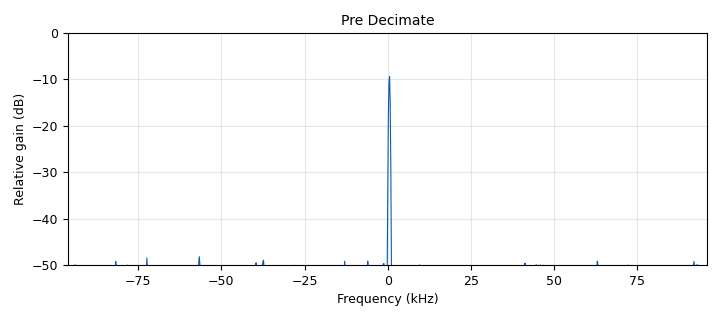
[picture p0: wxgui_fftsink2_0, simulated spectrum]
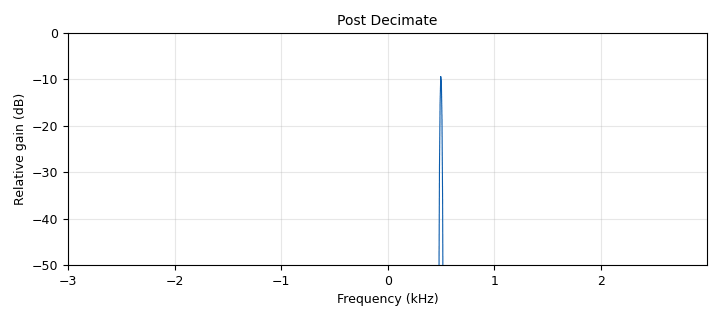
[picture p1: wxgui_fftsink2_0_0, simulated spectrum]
<?xml version='1.0' encoding='utf-8'?>
<?grc format='1' created='3.7.9'?>
<flow_graph>
<block>
<key>options</key>
<param><key>id</key><value>noiseDecimationTest</value></param>
<param><key>author</key><value>Richard Landsman</value></param>
<param><key>category</key><value>Custom</value></param>
<param><key>generate_options</key><value>wx_gui</value></param>
<param><key>title</key><value>Noise and Signal level testing</value></param>
</block>
<block>
<key>variable</key>
<param><key>id</key><value>decimate</value></param>
<param><key>value</key><value>32</value></param>
</block>
<block>
<key>variable_slider</key>
<param><key>id</key><value>freq</value></param>
<param><key>converver</key><value>float_converter</value></param>
<param><key>value</key><value>500</value></param>
<param><key>grid_pos</key><value>1,1,1,1</value></param>
<param><key>label</key><value>Signal Freq</value></param>
<param><key>max</key><value>1000</value></param>
<param><key>min</key><value>0</value></param>
<param><key>num_steps</key><value>200</value></param>
<param><key>style</key><value>wx.SL_HORIZONTAL</value></param>
</block>
<block>
<key>variable_slider</key>
<param><key>id</key><value>noiseAmp</value></param>
<param><key>converver</key><value>float_converter</value></param>
<param><key>value</key><value>0.1</value></param>
<param><key>grid_pos</key><value>1,2,1,1</value></param>
<param><key>label</key><value>Noise Amplitude</value></param>
<param><key>max</key><value>0.5</value></param>
<param><key>min</key><value>0</value></param>
<param><key>num_steps</key><value>200</value></param>
<param><key>style</key><value>wx.SL_HORIZONTAL</value></param>
</block>
<block>
<key>variable_function_probe</key>
<param><key>id</key><value>rmsDbFunc</value></param>
<param><key>block_id</key><value>rmsDbProbe</value></param>
<param><key>function_name</key><value>level</value></param>
<param><key>poll_rate</key><value>10</value></param>
<param><key>value</key><value>0</value></param>
</block>
<block>
<key>variable</key>
<param><key>id</key><value>samp_rate</value></param>
<param><key>value</key><value>192000</value></param>
</block>
<block>
<key>variable_slider</key>
<param><key>id</key><value>sigAmp</value></param>
<param><key>converver</key><value>float_converter</value></param>
<param><key>value</key><value>0.5</value></param>
<param><key>grid_pos</key><value>1,0,1,1</value></param>
<param><key>label</key><value>Signal Amplitude</value></param>
<param><key>max</key><value>1.0</value></param>
<param><key>min</key><value>0</value></param>
<param><key>num_steps</key><value>200</value></param>
<param><key>style</key><value>wx.SL_HORIZONTAL</value></param>
</block>
<block>
<key>variable_static_text</key>
<param><key>id</key><value>variable_static_text_0</value></param>
<param><key>converver</key><value>str_converter</value></param>
<param><key>value</key><value>rmsDbFunc</value></param>
<param><key>formatter</key><value>None</value></param>
<param><key>grid_pos</key><value>1,3,1,1</value></param>
<param><key>label</key><value>RMS Db</value></param>
</block>
<block>
<key>analog_noise_source_x</key>
<param><key>id</key><value>analog_noise_source_x_0</value></param>
<param><key>amp</key><value>noiseAmp</value></param>
<param><key>noise_type</key><value>analog.GR_GAUSSIAN</value></param>
<param><key>type</key><value>complex</value></param>
<param><key>seed</key><value>0</value></param>
</block>
<block>
<key>analog_sig_source_x</key>
<param><key>id</key><value>analog_sig_source_x_0</value></param>
<param><key>amp</key><value>sigAmp</value></param>
<param><key>freq</key><value>freq</value></param>
<param><key>offset</key><value>0</value></param>
<param><key>type</key><value>complex</value></param>
<param><key>samp_rate</key><value>samp_rate</value></param>
<param><key>waveform</key><value>analog.GR_COS_WAVE</value></param>
</block>
<block>
<key>blocks_add_xx</key>
<param><key>id</key><value>blocks_add_xx_0</value></param>
<param><key>type</key><value>complex</value></param>
</block>
<block>
<key>blocks_rms_xx</key>
<param><key>id</key><value>blocks_rms_xx_0</value></param>
<param><key>alpha</key><value>0.0001</value></param>
<param><key>type</key><value>complex</value></param>
</block>
<block>
<key>blocks_throttle</key>
<param><key>id</key><value>blocks_throttle_0</value></param>
<param><key>samples_per_second</key><value>samp_rate</value></param>
<param><key>type</key><value>complex</value></param>
</block>
<block>
<key>pfb_decimator_ccf</key>
<param><key>id</key><value>pfb_decimator_ccf_0</value></param>
<param><key>decim</key><value>decimate</value></param>
<param><key>channel</key><value>0</value></param>
<param><key>atten</key><value>100</value></param>
</block>
<block>
<key>blocks_nlog10_ff</key>
<param><key>id</key><value>rmsDbCalc</value></param>
<param><key>k</key><value>0</value></param>
<param><key>n</key><value>20</value></param>
</block>
<block>
<key>blocks_probe_signal_x</key>
<param><key>id</key><value>rmsDbProbe</value></param>
<param><key>type</key><value>float</value></param>
</block>
<block>
<key>wxgui_fftsink2</key>
<param><key>id</key><value>wxgui_fftsink2_0</value></param>
<param><key>avg_alpha</key><value>0</value></param>
<param><key>average</key><value>True</value></param>
<param><key>baseband_freq</key><value>0</value></param>
<param><key>fft_size</key><value>1024</value></param>
<param><key>freqvar</key><value>None</value></param>
<param><key>grid_pos</key><value>0,0,1,2</value></param>
<param><key>peak_hold</key><value>False</value></param>
<param><key>ref_level</key><value>0</value></param>
<param><key>ref_scale</key><value>2</value></param>
<param><key>fft_rate</key><value>15</value></param>
<param><key>samp_rate</key><value>samp_rate</value></param>
<param><key>title</key><value>Pre Decimate</value></param>
<param><key>type</key><value>complex</value></param>
<param><key>win_size</key><value>300,75</value></param>
<param><key>win</key><value>None</value></param>
<param><key>y_divs</key><value>10</value></param>
<param><key>y_per_div</key><value>5</value></param>
</block>
<block>
<key>wxgui_fftsink2</key>
<param><key>id</key><value>wxgui_fftsink2_0_0</value></param>
<param><key>avg_alpha</key><value>0</value></param>
<param><key>average</key><value>True</value></param>
<param><key>baseband_freq</key><value>0</value></param>
<param><key>fft_size</key><value>1024</value></param>
<param><key>freqvar</key><value>None</value></param>
<param><key>grid_pos</key><value>0,2,1,2</value></param>
<param><key>peak_hold</key><value>False</value></param>
<param><key>ref_level</key><value>0</value></param>
<param><key>ref_scale</key><value>2.0</value></param>
<param><key>fft_rate</key><value>15</value></param>
<param><key>samp_rate</key><value>samp_rate/decimate</value></param>
<param><key>title</key><value>Post Decimate</value></param>
<param><key>type</key><value>complex</value></param>
<param><key>win_size</key><value>300,75</value></param>
<param><key>win</key><value>None</value></param>
<param><key>y_divs</key><value>10</value></param>
<param><key>y_per_div</key><value>5</value></param>
</block>
<connection><source_block_id>analog_noise_source_x_0</source_block_id><sink_block_id>blocks_throttle_0</sink_block_id><source_key>0</source_key><sink_key>0</sink_key></connection>
<connection><source_block_id>analog_sig_source_x_0</source_block_id><sink_block_id>blocks_add_xx_0</sink_block_id><source_key>0</source_key><sink_key>0</sink_key></connection>
<connection><source_block_id>blocks_add_xx_0</source_block_id><sink_block_id>pfb_decimator_ccf_0</sink_block_id><source_key>0</source_key><sink_key>0</sink_key></connection>
<connection><source_block_id>blocks_add_xx_0</source_block_id><sink_block_id>wxgui_fftsink2_0</sink_block_id><source_key>0</source_key><sink_key>0</sink_key></connection>
<connection><source_block_id>blocks_rms_xx_0</source_block_id><sink_block_id>rmsDbCalc</sink_block_id><source_key>0</source_key><sink_key>0</sink_key></connection>
<connection><source_block_id>blocks_throttle_0</source_block_id><sink_block_id>blocks_add_xx_0</sink_block_id><source_key>0</source_key><sink_key>1</sink_key></connection>
<connection><source_block_id>pfb_decimator_ccf_0</source_block_id><sink_block_id>blocks_rms_xx_0</sink_block_id><source_key>0</source_key><sink_key>0</sink_key></connection>
<connection><source_block_id>pfb_decimator_ccf_0</source_block_id><sink_block_id>wxgui_fftsink2_0_0</sink_block_id><source_key>0</source_key><sink_key>0</sink_key></connection>
<connection><source_block_id>rmsDbCalc</source_block_id><sink_block_id>rmsDbProbe</sink_block_id><source_key>0</source_key><sink_key>0</sink_key></connection>
</flow_graph>
